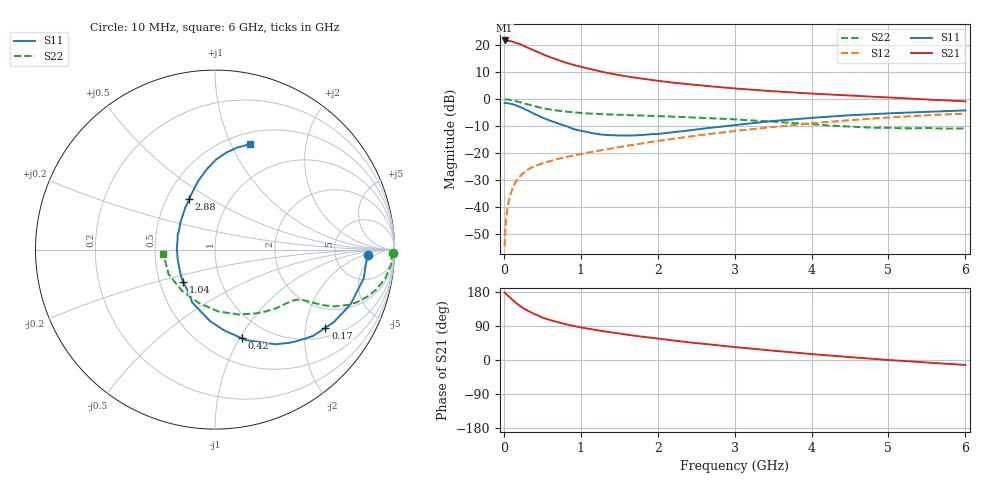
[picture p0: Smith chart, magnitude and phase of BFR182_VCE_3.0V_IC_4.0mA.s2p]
! Infineon Technologies  Discrete & RF Semiconductors
! BFR182
! VCE =  3.0 V,  IC =  4.0 mA
! Common Emitter S-Parameters:  Nov 2015
# GHz  S  MA  R  50
!  f  S11  S21  S12  S22
! GHz  MAG  ANG  MAG  ANG  MAG  ANG  MAG  ANG
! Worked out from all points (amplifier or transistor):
!   210 points, 10 MHz to 6 GHz, reference 50 ohm
!   highest |S21| = 21.7 dB at 10 MHz (marker M1)
!   |S21| within 3 dB of that: start of sweep to 335.2 MHz
!   unconditionally stable (mu >= 1): 1.168 GHz to 2.912 GHz
!   at 185 MHz: K = 0.29, MSG = 25.0 dB, |S12| = -29.4 dB
!   at 1.52 GHz: K = 1.06, MAG = 11.8 dB, |S12| = -17.7 dB
!   at 6 GHz: K = 0.88, MSG = 2.3 dB, |S12| = -5.4 dB
!   S11 on the Smith chart (normalised r, x): 10 MHz: 12, -3; 170 MHz: 1.28, -2.58; 420 MHz: 0.76, -1.02; 1.04 GHz: 0.66, -0.25; 2.88 GHz: 0.65, +0.41; 6 GHz: 0.62, +1.18
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0.01  0.8524 -2.2  12.16 178.1  0.0019 86.2  0.992 -1.0
0.02  0.8457 -4.5  11.86 175.9  0.004 80.0  0.9861 -2.1
0.04  0.8432 -8.8  11.95 172.2  0.0082 83.2  0.9844 -4.0
0.1  0.8145 -22.0  11.74 161.3  0.0197 77.7  0.9611 -9.8
0.15  0.7753 -31.5  11.05 151.9  0.0288 72.9  0.9241 -14.1
0.17  0.7535 -35.3  10.83 148.9  0.0317 71.4  0.9081 -15.4
0.2  0.7276 -41.4  10.56 144.1  0.0362 69.6  0.8849 -17.4
0.26  0.6637 -51.5  9.673 135.7  0.0436 65.5  0.8351 -20.8
0.3  0.6254 -57.5  9.055 130.9  0.0486 63.9  0.8049 -22.5
0.42  0.5158 -73.2  7.645 119.3  0.0589 59.5  0.7268 -25.7
0.5  0.4554 -83.1  6.789 112.0  0.0645 58.1  0.6813 -27.1
0.7  0.3545 -102.9  5.308 99.8  0.0778 57.3  0.6111 -28.7
0.9  0.2809 -121.6  4.315 89.9  0.0903 57.4  0.5706 -29.7
1.02  0.2559 -132.7  3.899 85.3  0.0977 58.4  0.5524 -30.4
1.04  0.2522 -134.6  3.839 84.6  0.0989 58.4  0.5499 -30.6
1.4  0.2149 -166.0  2.944 72.7  0.1224 59.7  0.5184 -33.4
2.02  0.2279 151.2  2.165 55.9  0.1697 59.9  0.4834 -40.5
2.88  0.3156 117.0  1.631 36.7  0.2448 56.1  0.4299 -55.0
3.1  0.342 111.8  1.536 32.4  0.2655 54.4  0.4126 -59.8
4.1  0.4603 94.4  1.244 14.1  0.3659 45.0  0.3355 -90.4
5.1  0.5526 82.0  1.056 -1.3  0.466 32.8  0.2902 -133.1
6  0.6181 71.8  0.909 -13.0  0.5379 19.6  0.2882 -174.8
